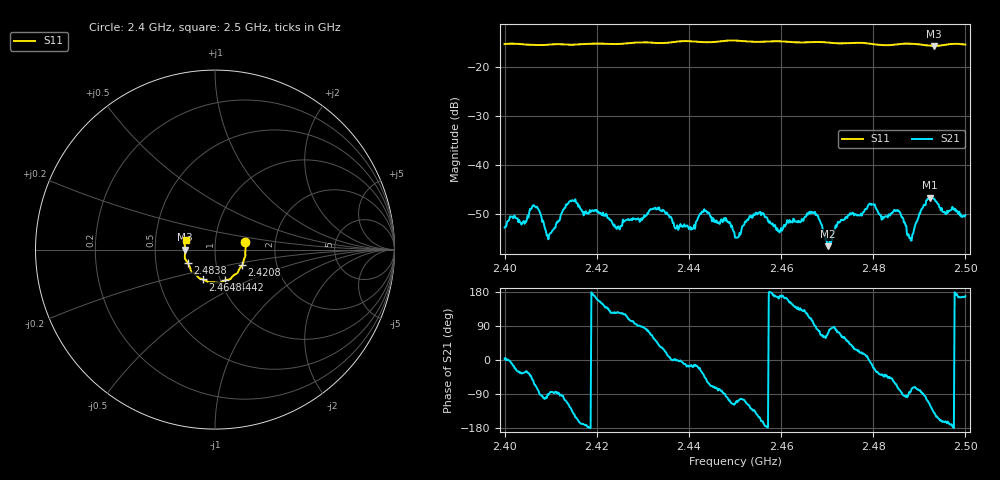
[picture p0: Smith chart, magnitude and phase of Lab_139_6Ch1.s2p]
# Hz S RI R 50
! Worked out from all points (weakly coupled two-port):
!   601 points, 2.4 GHz to 2.5 GHz, reference 50 ohm
!   highest |S21| = -46.65 dB at 2.4923 GHz (marker M1); lowest = -56.6 dB at 2.4702 GHz (marker M2)
!   lowest |S11| = -15.6 dB at 2.4932 GHz (marker M3), VSWR 1.40, Z = 35.8 - j0.084 ohm
!   |S11| at or under -10 dB: start of sweep to end of sweep
!   S12 and S22 are empty: the file has one direction only
!   S11 on the Smith chart (normalised r, x): 2.4 GHz: 1.40, +0.12; 2.4208 GHz: 1.33, -0.24; 2.4442 GHz: 1.05, -0.37; 2.4648 GHz: 0.83, -0.28; 2.4838 GHz: 0.73, -0.11; 2.5 GHz: 0.72, +0.08
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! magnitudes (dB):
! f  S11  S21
! 2.4 GHz  -15.2  -52.8
! 2.4065 GHz  -15.4  -48.4
! 2.4097 GHz  -15.3  -54.3
! 2.4138 GHz  -15.4  -47.8
! 2.4167 GHz  -15.3  -49.1
! 2.4208 GHz  -15.2  -49.8
! 2.4245 GHz  -15.2  -52.6
! 2.4333 GHz  -15.0  -49.0
! 2.4373 GHz  -14.7  -52.8
! 2.4442 GHz  -14.9  -49.7
! 2.45 GHz  -14.5  -54.8
! 2.455 GHz  -14.8  -49.9
! 2.4648 GHz  -14.9  -51.4
! 2.4667 GHz  -14.8  -49.7
! 2.4702 GHz  -14.9  -56.6
! 2.4793 GHz  -15.2  -47.9
! 2.4833 GHz  -15.5  -50.1
! 2.4838 GHz  -15.4  -49.9
! 2.488 GHz  -15.2  -54.8
! 2.4923 GHz  -15.6  -46.6
! 2.4932 GHz  -15.6  -46.9
! 2.5 GHz  -15.3  -50.2
